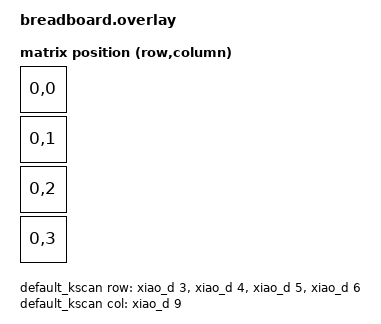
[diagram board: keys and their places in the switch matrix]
#inclue <dt-bindings/zmk/matrix_transform.h>

/ {
    chosen
    {
        zmk,kscan = &default_kscan;
        zmk,matrix_transform = &default_transform;
    };

    default_kscan: kscan
    {
        compatible = "zmk,kscan-gpio-matrix";
        label = "default_kscan";
        diode-direction = "col2row";

        row-gpios = <&xiao_d 3 (GPIO_ACTIVE_HIGH | GPIO_PULL_DOWN)>,
			        <&xiao_d 4 (GPIO_ACTIVE_HIGH | GPIO_PULL_DOWN)>, 
			        <&xiao_d 5 (GPIO_ACTIVE_HIGH | GPIO_PULL_DOWN)>,
			        <&xiao_d 6 (GPIO_ACTIVE_HIGH | GPIO_PULL_DOWN)>;

		col-gpios = <&xiao_d 9 (GPIO_ACTIVE_HIGH | GPIO_PULL_DOWN)>;
    };

    default-transform: matrix_transform 
    {
        compatible = "zmk,matrix-transform";
        rows = <4>;
        columns = <1>;

        map = <
            RC(0,0)
            RC(0,1)
            RC(0,2)
            RC(0,3)
            >;
    };
};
